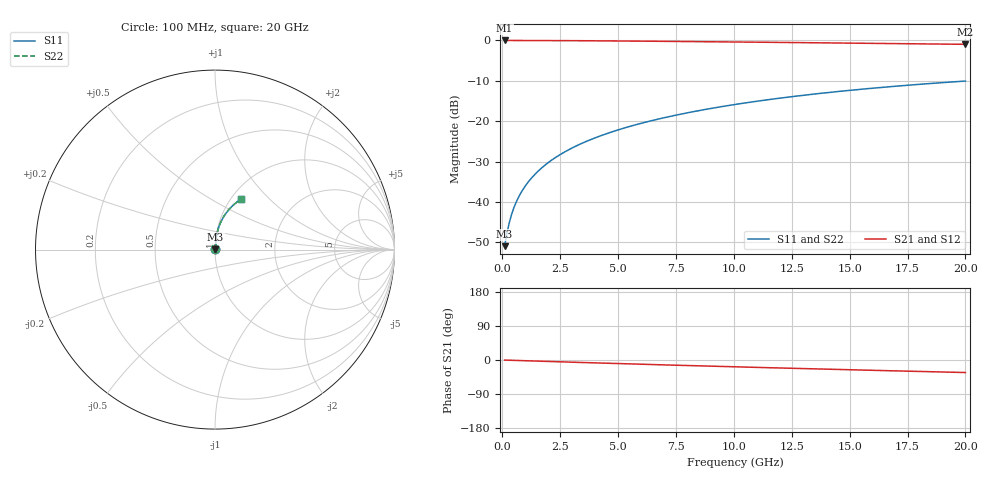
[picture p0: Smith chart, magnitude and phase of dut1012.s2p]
! Touchstone file exported from HFSS 2024.1.0
!  File:  C:/UserFiles/LocalFiles/RDL_TSV_Batchsim/temp_RDL_bottom_1012_1780050386.aedt
!  Generated:  06:28:47 PM May 29, 2026
!  Design:  RDL_bottom
!  Project:  temp_RDL_bottom_1012_1780050386
!  Setup:  Setup1
!  Solution:  Sweep
! Variables:
!  dtsv = 10.80580581um
!  hbump = 3um
!  htsv = 63.91um
!  ldown = 480.44um
!  lrdl = 100um
!  p = 40
!  p1 = 42.54um
!  rhole = 1um
!  t = 450um
!  tdown = 4.26um
!  trdl = 3.915915916um
!  wdown = 18.65um
!  wrdl = 20um
# GHz S MA R 50.000000
! Terminal data exported
! Port[1] = RDL1_T1
! Port[2] = RDL1_T2
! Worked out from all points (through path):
!   200 points, 100 MHz to 20 GHz, reference 50 ohm
!   highest |S21| = -0.02 dB at 100 MHz (marker M1); lowest = -1.0 dB at 20 GHz (marker M2)
!   group delay of S21, straight-line fit = 4.56 ps
!   lowest |S11| = -50.9 dB at 100 MHz (marker M3), VSWR 1.01, Z = 50.2 + j0.169 ohm
!   |S11| at or under -10 dB: start of sweep to end of sweep
!   |S22| runs from -50.9 to -10.1 dB; largest |S21 - S12| = 2.7e-15
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0.1  0.002846 36.3  0.9977 -0.2  0.9977 -0.2  0.002846 36.3
! Gamma 0 0 0 0
! Port Impedance 50 0 50 0
0.2  0.0041 54.5  0.9976 -0.4  0.9976 -0.4  0.0041 54.5
0.3  0.005537 63.2  0.9974 -0.6  0.9974 -0.6  0.005537 63.2
0.4  0.007013 68.1  0.9973 -0.8  0.9973 -0.8  0.007012 68.1
0.5  0.008492 71.3  0.9972 -1.0  0.9972 -1.0  0.00849 71.3
0.6  0.009969 73.5  0.9971 -1.2  0.9971 -1.2  0.009967 73.5
0.8  0.01293 76.6  0.9968 -1.6  0.9968 -1.6  0.01292 76.6
1.1  0.01739 79.4  0.9964 -2.1  0.9964 -2.1  0.01739 79.4
1.3  0.02039 80.6  0.9961 -2.5  0.9961 -2.5  0.02039 80.6
1.6  0.02492 81.8  0.9955 -3.1  0.9955 -3.1  0.02492 81.8
2.1  0.03253 83.0  0.9944 -4.1  0.9944 -4.1  0.03253 83.0
2.7  0.04177 83.7  0.9927 -5.2  0.9927 -5.2  0.04177 83.7
3.5  0.05424 83.9  0.9899 -6.7  0.9899 -6.7  0.05424 83.9
4.2  0.06529 83.8  0.987 -8.0  0.987 -8.0  0.0653 83.8
5  0.07807 83.4  0.9833 -9.4  0.9833 -9.4  0.07808 83.4
5.9  0.09263 82.7  0.9788 -11.0  0.9788 -11.0  0.09265 82.7
6.8  0.1073 81.8  0.9741 -12.6  0.9741 -12.6  0.1074 81.8
8.4  0.1338 79.9  0.9651 -15.3  0.9651 -15.3  0.1338 80.0
10.1  0.1619 77.7  0.9551 -18.1  0.9551 -18.1  0.162 77.7
13.4  0.2157 72.8  0.9351 -23.3  0.9351 -23.3  0.2158 72.8
16.7  0.2667 67.8  0.9145 -28.3  0.9145 -28.3  0.2668 67.8
20  0.314 62.8  0.8935 -33.1  0.8935 -33.1  0.3141 62.8
